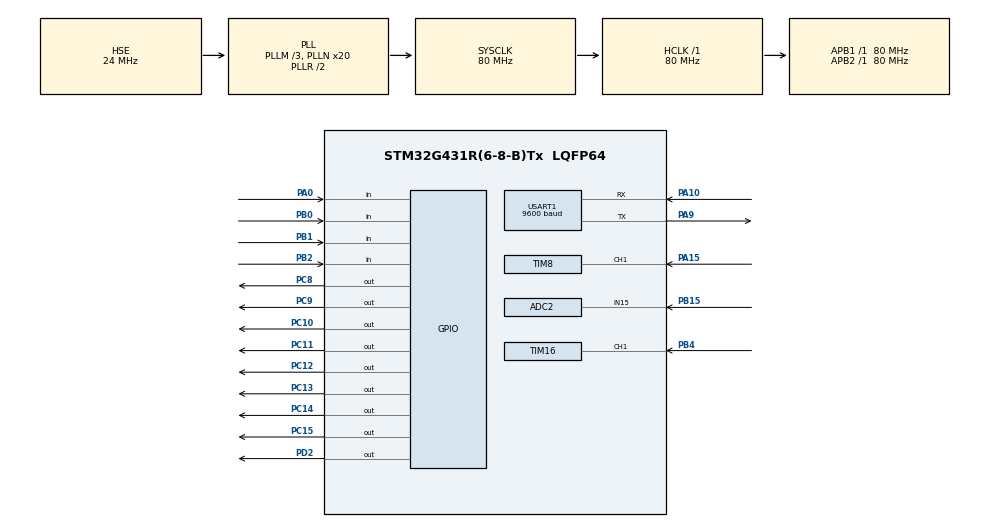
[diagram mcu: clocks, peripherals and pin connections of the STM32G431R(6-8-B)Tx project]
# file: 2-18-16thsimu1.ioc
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ADC2.Channel-0\#ChannelRegularConversion=ADC_CHANNEL_15
ADC2.NbrOfConversionFlag=1
ADC2.OffsetNumber-0\#ChannelRegularConversion=ADC_OFFSET_NONE
ADC2.Rank-0\#ChannelRegularConversion=1
ADC2.SamplingTime-0\#ChannelRegularConversion=ADC_SAMPLETIME_2CYCLES_5
Mcu.Family=STM32G4
Mcu.Name=STM32G431R(6-8-B)Tx
Mcu.Package=LQFP64
NVIC.ADC1_2_IRQn=true\:2\:0\:true\:false\:true\:true\:true\:true
NVIC.PriorityGroup=NVIC_PRIORITYGROUP_4
NVIC.TIM1_BRK_TIM15_IRQn=true\:0\:0\:false\:false\:true\:true\:true\:true
NVIC.TIM1_UP_TIM16_IRQn=true\:0\:0\:false\:false\:true\:true\:true\:true
NVIC.TIM7_IRQn=true\:1\:0\:true\:false\:true\:true\:true\:true
NVIC.TIM8_CC_IRQn=true\:0\:0\:false\:false\:true\:true\:true\:true
NVIC.USART1_IRQn=true\:0\:0\:false\:false\:true\:true\:true\:true
PA0.GPIO_Mode=GPIO_MODE_INPUT
PA0.GPIO_PuPd=GPIO_PULLUP
PA0.Signal=GPIO_Input
PA10.Mode=Asynchronous
PA10.Signal=USART1_RX
PA13.Mode=Serial_Wire
PA13.Signal=SYS_JTMS-SWDIO
PA14.Mode=Serial_Wire
PA14.Signal=SYS_JTCK-SWCLK
PA15.Signal=S_TIM8_CH1
PA9.Mode=Asynchronous
PA9.Signal=USART1_TX
PB0.GPIO_Mode=GPIO_MODE_INPUT
PB0.GPIO_PuPd=GPIO_PULLUP
PB0.Signal=GPIO_Input
PB1.GPIO_Mode=GPIO_MODE_INPUT
PB1.GPIO_PuPd=GPIO_PULLUP
PB1.Signal=GPIO_Input
PB15.Mode=IN15-Single-Ended
PB15.Signal=ADC2_IN15
PB2.GPIO_Mode=GPIO_MODE_INPUT
PB2.GPIO_PuPd=GPIO_PULLUP
PB2.Signal=GPIO_Input
PB4.Signal=S_TIM16_CH1
PC10.PinState=GPIO_PIN_SET
PC10.Signal=GPIO_Output
PC11.PinState=GPIO_PIN_SET
PC11.Signal=GPIO_Output
PC12.PinState=GPIO_PIN_SET
PC12.Signal=GPIO_Output
PC13.PinState=GPIO_PIN_SET
PC13.Signal=GPIO_Output
PC14-OSC32_IN.PinState=GPIO_PIN_SET
PC14-OSC32_IN.Signal=GPIO_Output
PC15-OSC32_OUT.PinState=GPIO_PIN_SET
PC15-OSC32_OUT.Signal=GPIO_Output
PC8.PinState=GPIO_PIN_SET
PC8.Signal=GPIO_Output
PC9.PinState=GPIO_PIN_SET
PC9.Signal=GPIO_Output
PD2.PinState=GPIO_PIN_SET
PD2.Signal=GPIO_Output
PF0-OSC_IN.Mode=HSE-External-Oscillator
PF0-OSC_IN.Signal=RCC_OSC_IN
PF1-OSC_OUT.Mode=HSE-External-Oscillator
PF1-OSC_OUT.Signal=RCC_OSC_OUT
ProjectManager.HeapSize=0x200
ProjectManager.StackSize=0x400
ProjectManager.TargetToolchain=MDK-ARM V5.32
RCC.ADC12Freq_Value=80000000
RCC.AHBFreq_Value=80000000
RCC.APB1Freq_Value=80000000
RCC.APB1TimFreq_Value=80000000
RCC.APB2Freq_Value=80000000
RCC.APB2TimFreq_Value=80000000
RCC.CortexFreq_Value=80000000
RCC.EXTERNAL_CLOCK_VALUE=12288000
RCC.HCLKFreq_Value=80000000
RCC.HSE_VALUE=24000000
RCC.HSI48_VALUE=48000000
RCC.HSI_VALUE=16000000
RCC.LSE_VALUE=32768
RCC.PLLM=RCC_PLLM_DIV3
RCC.PLLN=20
RCC.PLLSourceVirtual=RCC_PLLSOURCE_HSE
RCC.SYSCLKFreq_VALUE=80000000
RCC.SYSCLKSource=RCC_SYSCLKSOURCE_PLLCLK
RCC.USBFreq_Value=80000000
RCC.VCOOutputFreq_Value=160000000
SH.S_TIM16_CH1.0=TIM16_CH1,Input_Capture1_from_TI1
SH.S_TIM8_CH1.0=TIM8_CH1,Input_Capture1_from_TI1
TIM15.PeriodNoDither=1000-1
TIM15.Prescaler=8000-1
TIM16.Channel=TIM_CHANNEL_1
TIM16.Prescaler=80-1
TIM7.PeriodNoDither=1000-1
TIM7.Prescaler=80-1
TIM8.Channel-Input_Capture1_from_TI1=TIM_CHANNEL_1
TIM8.Prescaler=80-1
USART1.BaudRate=9600
USART1.VirtualMode-Asynchronous=VM_ASYNC
VP_SYS_VS_DBSignals.Mode=DisableDeadBatterySignals
VP_TIM15_VS_ClockSourceINT.Mode=Internal
VP_TIM16_VS_ClockSourceINT.Mode=Enable_Timer
VP_TIM7_VS_ClockSourceINT.Mode=Enable_Timer
VP_TIM8_VS_ClockSourceINT.Mode=Internal
board=custom

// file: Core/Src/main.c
/* USER CODE BEGIN Header */
/**
  ******************************************************************************
  * @file           : main.c
  * @brief          : Main program body
  ******************************************************************************
  * @attention
  *
  * Copyright (c) 2025 STMicroelectronics.
  * All rights reserved.
  *
  * This software is licensed under terms that can be found in the LICENSE file
  * in the root directory of this software component.
  * If no LICENSE file comes with this software, it is provided AS-IS.
  *
  ******************************************************************************
  */
/* USER CODE END Header */
#include "main.h"
#include "adc.h"
#include "tim.h"
#include "usart.h"
#include "gpio.h"

/* USER CODE BEGIN Includes */
#include "headfile.h"

/* USER CODE END Includes */

void SystemClock_Config(void);

int main(void)
{

  /* MCU Configuration--------------------------------------------------------*/

  /* Reset of all peripherals, Initializes the Flash interface and the Systick. */
  HAL_Init();

  /* Configure the system clock */
  SystemClock_Config();

  /* Initialize all configured peripherals */
  MX_GPIO_Init();
  MX_TIM7_Init();
  MX_ADC2_Init();
  MX_TIM8_Init();
  MX_TIM15_Init();
  MX_TIM16_Init();
  MX_USART1_UART_Init();
  /* USER CODE BEGIN 2 */
	HAL_GPIO_WritePin(GPIOD, GPIO_PIN_2, GPIO_PIN_RESET);
	led_show(1,0);
	led_show(2,0);
	led_show(3,0);
	led_show(4,0);
	led_show(5,0);
	led_show(6,0);
	led_show(7,0);
	led_show(8,0);

	led_show(1,1);

	HAL_TIM_Base_Start_IT(&htim7);

	LCD_Init();
	LCD_Clear(Black);
	LCD_SetTextColor(White);
	LCD_SetBackColor(Black);

	HAL_TIM_IC_Start_IT(&htim16,TIM_CHANNEL_1);
	HAL_TIM_IC_Start_IT(&htim8,TIM_CHANNEL_1);

	HAL_UART_Receive_IT(&huart1,&rx_data,1);

  /* USER CODE END 2 */

  /* Infinite loop */
  /* USER CODE BEGIN WHILE */
  while (1)
  {
		while_fun();
    /* USER CODE END WHILE */

  }
}

void SystemClock_Config(void)
{
  RCC_OscInitTypeDef RCC_OscInitStruct = {0};
  RCC_ClkInitTypeDef RCC_ClkInitStruct = {0};

  /** Configure the main internal regulator output voltage
  */
  HAL_PWREx_ControlVoltageScaling(PWR_REGULATOR_VOLTAGE_SCALE1);

  /** Initializes the RCC Oscillators according to the specified parameters
  * in the RCC_OscInitTypeDef structure.
  */
  RCC_OscInitStruct.OscillatorType = RCC_OSCILLATORTYPE_HSE;
  RCC_OscInitStruct.HSEState = RCC_HSE_ON;
  RCC_OscInitStruct.PLL.PLLState = RCC_PLL_ON;
  RCC_OscInitStruct.PLL.PLLSource = RCC_PLLSOURCE_HSE;
  RCC_OscInitStruct.PLL.PLLM = RCC_PLLM_DIV3;
  RCC_OscInitStruct.PLL.PLLN = 20;
  RCC_OscInitStruct.PLL.PLLP = RCC_PLLP_DIV2;
  RCC_OscInitStruct.PLL.PLLQ = RCC_PLLQ_DIV2;
  RCC_OscInitStruct.PLL.PLLR = RCC_PLLR_DIV2;
  if (HAL_RCC_OscConfig(&RCC_OscInitStruct) != HAL_OK)
  {
    Error_Handler();
  }

  /** Initializes the CPU, AHB and APB buses clocks
  */
  RCC_ClkInitStruct.ClockType = RCC_CLOCKTYPE_HCLK|RCC_CLOCKTYPE_SYSCLK
                              |RCC_CLOCKTYPE_PCLK1|RCC_CLOCKTYPE_PCLK2;
  RCC_ClkInitStruct.SYSCLKSource = RCC_SYSCLKSOURCE_PLLCLK;
  RCC_ClkInitStruct.AHBCLKDivider = RCC_SYSCLK_DIV1;
  RCC_ClkInitStruct.APB1CLKDivider = RCC_HCLK_DIV1;
  RCC_ClkInitStruct.APB2CLKDivider = RCC_HCLK_DIV1;

  if (HAL_RCC_ClockConfig(&RCC_ClkInitStruct, FLASH_LATENCY_2) != HAL_OK)
  {
    Error_Handler();
  }
}

void Error_Handler(void)
{
  __disable_irq();
  while (1)
  {
  }
}
